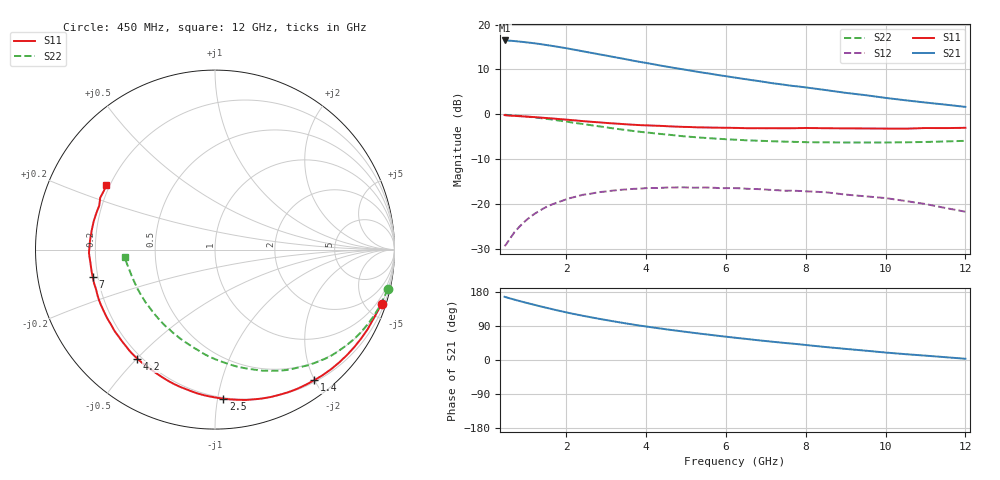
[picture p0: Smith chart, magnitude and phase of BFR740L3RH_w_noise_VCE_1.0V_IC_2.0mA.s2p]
! (c) 2012  Infineon Technologies AG, Munich
! Infineon Technologies  Discrete & RF Semiconductors
! BFR740L3RH
! VCE =  1.0 V,  IC =  2.0 mA
! Common Emitter S-Parameters:  May 2012
# GHz  S  MA  R  50
!  f  S11  S21  S12  S22
! GHz  MAG  ANG  MAG  ANG  MAG  ANG  MAG  ANG
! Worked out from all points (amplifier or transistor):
!   85 points, 450 MHz to 12 GHz, reference 50 ohm
!   highest |S21| = 16.5 dB at 450 MHz (marker M1)
!   |S21| within 3 dB of that: start of sweep to 2.764 GHz
!   unconditionally stable (mu >= 1): 10.22 GHz to end of sweep
!   at 1.8 GHz: K = 0.11, MSG = 17.3 dB, |S12| = -19.6 dB
!   at 4.6 GHz: K = 0.27, MSG = 13.4 dB, |S12| = -16.4 dB
!   at 12 GHz: K = 1.64, MAG = 7.0 dB, |S12| = -21.8 dB
!   lowest NFmin = 0.30 dB at 450 MHz
!   S11 on the Smith chart (normalised r, x): 450 MHz: 0.45, -6.25; 1.4 GHz: 0.23, -1.99; 2.5 GHz: 0.19, -1.04; 4.2 GHz: 0.18, -0.50; 7 GHz: 0.18, -0.11; 12 GHz: 0.19, +0.27
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0.45  0.9777 -18.1  6.66 166.8  0.0337 81.3  0.9882 -12.9
0.6  0.9635 -23.6  6.609 162.1  0.0418 74.0  0.9756 -16.9
0.9  0.9472 -35.0  6.416 153.5  0.0602 65.9  0.951 -24.9
1.1  0.935 -42.2  6.269 148.1  0.0719 60.5  0.9322 -30.0
1.4  0.9141 -52.8  6.015 140.2  0.0876 53.9  0.8994 -37.4
1.7  0.893 -62.9  5.734 132.7  0.1009 47.4  0.8647 -44.6
1.9  0.878 -69.3  5.546 128.0  0.1084 43.5  0.8385 -49.1
2.1  0.862 -75.5  5.348 123.3  0.1162 39.8  0.8139 -53.2
2.4  0.8389 -84.2  5.052 117.0  0.1259 33.7  0.7796 -59.4
2.5  0.8321 -86.8  4.957 115.0  0.1279 32.1  0.7679 -61.3
2.9  0.8066 -97.2  4.598 107.2  0.1362 25.6  0.7245 -68.6
3.3  0.7834 -106.8  4.262 99.9  0.1426 19.6  0.6834 -75.5
3.7  0.7623 -115.6  3.941 93.0  0.1471 13.7  0.6481 -82.1
4.2  0.746 -125.4  3.6 85.4  0.1501 7.5  0.6129 -89.4
4.3  0.7431 -127.2  3.532 83.9  0.1503 6.1  0.6062 -90.9
4.7  0.729 -134.5  3.289 78.2  0.1523 1.7  0.5824 -96.5
5.2  0.7168 -142.7  3.021 71.5  0.1514 -4.0  0.5559 -103.2
6.3  0.7028 -158.4  2.535 57.9  0.1495 -14.4  0.5182 -117.2
7  0.6977 -167.3  2.278 50.0  0.1443 -20.8  0.5028 -125.7
8.5  0.6983 175.9  1.861 34.2  0.1347 -33.8  0.4858 -142.8
10.5  0.6899 159.2  1.431 15.4  0.1076 -50.3  0.4866 -162.5
12  0.7056 149.1  1.208 3.3  0.0817 -61.3  0.505 -175.0
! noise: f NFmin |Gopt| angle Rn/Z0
0.45  0.3  0.73  4  0.25
0.9  0.33  0.7  17  0.24
1.5  0.38  0.66  30  0.23
1.9  0.42  0.66  38  0.22
2.4  0.48  0.64  47  0.21
3.5  0.61  0.6  68  0.19
5.5  0.87  0.65  98  0.16
8  1.18  0.59  137  0.09
10  1.42  0.62  161  0.04
12  1.65  0.69  -163  0.04
